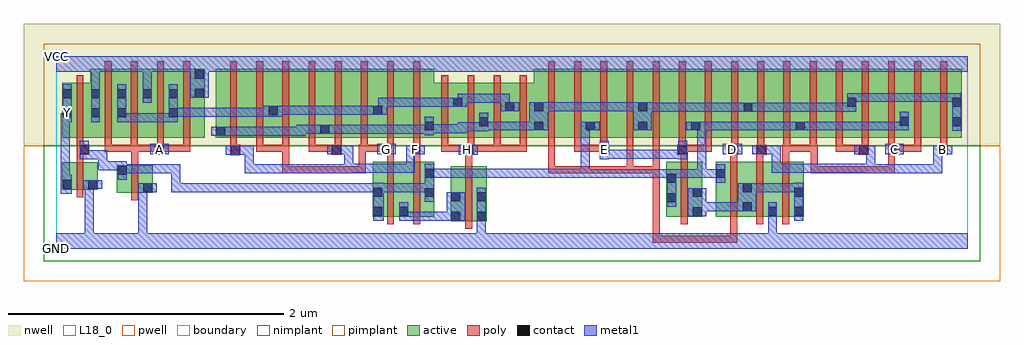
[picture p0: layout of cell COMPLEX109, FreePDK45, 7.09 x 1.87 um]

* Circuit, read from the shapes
.subckt COMPLEX109 A B C D E F G GND H VCC Y
M1 GND n1 Y VSUBS nfet w=0.2u l=0.05u
M2 GND A n1 VSUBS nfet w=0.2u l=0.05u
M3 n2 G n1 VSUBS nfet w=0.4u l=0.05u
M4 n1 F n2 VSUBS nfet w=0.4u l=0.05u
M5 GND H n2 VSUBS nfet w=0.4u l=0.05u
M6 n3 E n1 VSUBS nfet w=0.4u l=0.05u
M7 n3 D n1 VSUBS nfet w=0.4u l=0.05u
M8 GND B n3 VSUBS nfet w=0.4u l=0.05u
M9 n3 C GND VSUBS nfet w=0.4u l=0.05u
M10 VCC n1 Y n4 pfet w=0.4u l=0.05u
M11 n5 A VCC n4 pfet w=0.5u l=0.05u m=4
M12 n6 F n7 n4 pfet w=0.5u l=0.05u
M13 n5 G n6 n4 pfet w=0.5u l=0.05u
M14 n8 G n5 n4 pfet w=0.5u l=0.05u
M15 n7 F n8 n4 pfet w=0.5u l=0.05u
M16 n9 F n7 n4 pfet w=0.5u l=0.05u
M17 n5 G n9 n4 pfet w=0.5u l=0.05u
M18 n10 G n5 n4 pfet w=0.5u l=0.05u
M19 n7 F n10 n4 pfet w=0.5u l=0.05u
M20 n5 H n7 n4 pfet w=0.4u l=0.05u m=4
M21 n11 D n7 n4 pfet w=0.5u l=0.05u
M22 n1 E n11 n4 pfet w=0.5u l=0.05u
M23 n12 E n1 n4 pfet w=0.5u l=0.05u
M24 n7 D n12 n4 pfet w=0.5u l=0.05u
M25 n13 D n7 n4 pfet w=0.5u l=0.05u
M26 n1 E n13 n4 pfet w=0.5u l=0.05u
M27 n14 E n1 n4 pfet w=0.5u l=0.05u
M28 n7 D n14 n4 pfet w=0.5u l=0.05u
M29 n15 B n7 n4 pfet w=0.5u l=0.05u
M30 n1 C n15 n4 pfet w=0.5u l=0.05u
M31 n16 C n1 n4 pfet w=0.5u l=0.05u
M32 n7 B n16 n4 pfet w=0.5u l=0.05u
M33 n17 B n7 n4 pfet w=0.5u l=0.05u
M34 n1 C n17 n4 pfet w=0.5u l=0.05u
M35 n18 C n1 n4 pfet w=0.5u l=0.05u
M36 n7 B n18 n4 pfet w=0.5u l=0.05u
.ends

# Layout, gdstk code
import gdstk
lib = gdstk.Library(unit=1e-6, precision=1e-09)
def R(c, l, rs):  # rectangles x0, y0, x1, y1
    for r in rs: c.add(gdstk.rectangle(r[:2], r[2:], *l))
def A(c, l, x, y, w, h, nx, ny, dx, dy):  # array of equal rectangles
    R(c, l, [(x+i*dx, y+j*dy, x+i*dx+w, y+j*dy+h) for i in range(nx) for j in range(ny)])
active = (1, 0)
pwell = (2, 0)
nwell = (3, 0)
nimplant = (4, 0)
pimplant = (5, 0)
poly = (9, 0)
contact = (10, 0)
metal1 = (11, 0)
L18_0 = (18, 0)
boundary = (235, 0)

complex109 = lib.new_cell('COMPLEX109')
A(complex109, active, 5.592, 0.807, 0.225, 0.5, 3, 1, 0.38, 0)
R(complex109, active, [(2.865,0.2,3.125,0.6), (2.865,0.2,2.94,0.492), (3.05,0.2,3.125,0.492), (2.297,0.232,2.562,0.632), (2.297,0.232,2.372,0.492), (2.487,0.232,2.562,0.492), (2.487,0.232,2.747,0.632), (4.432,0.232,4.507,0.632), (4.432,0.232,4.692,0.632), (4.617,0.232,4.692,0.632), (4.79,0.232,5.055,0.632), (4.98,0.232,5.055,0.492), (4.98,0.232,5.24,0.632), (5.165,0.232,5.43,0.632), (5.165,0.232,5.24,0.492), (5.355,0.232,5.43,0.632), (2.672,0.295,2.747,0.632), (4.79,0.295,4.865,0.632), (0.44,0.407,0.515,0.607), (0.44,0.407,0.7,0.607), (0.625,0.407,0.7,0.607), (0.042,0.43,0.302,0.63), (0.227,0.43,0.302,0.63), (0.042,0.432,0.117,0.63), (0.042,0.807,0.117,1.2), (0.042,0.807,0.322,1.207), (0.247,0.807,0.512,1.307), (0.247,0.807,0.322,1.205), (0.437,0.807,0.512,1.2), (0.437,0.807,0.697,1.307), (0.622,0.807,0.697,1.307), (0.622,0.807,0.887,1.307), (0.812,0.807,0.887,1.2), (0.812,0.807,1.077,1.307), (1.002,0.807,1.077,1.307), (1.157,0.807,1.382,1.307), (1.157,0.807,1.262,1.047), (1.382,0.807,1.612,1.307), (1.537,0.807,1.612,1.2), (1.537,0.807,1.762,1.307), (1.762,0.807,1.987,1.307), (1.912,0.807,2.142,1.307), (1.912,0.807,1.987,1.07), (2.142,0.807,2.372,1.307), (2.297,0.807,2.372,1.2), (2.297,0.807,2.522,1.307), (2.522,0.807,2.747,1.307), (2.672,0.807,2.747,1.07), (2.672,0.807,2.952,1.207), (2.877,0.807,3.142,1.207), (2.877,0.807,2.952,1.2), (3.067,0.807,3.332,1.207), (3.067,0.807,3.142,1.07), (3.257,0.807,3.332,1.2), (3.257,0.807,3.542,1.207), (3.467,0.807,3.542,1.2), (3.467,0.807,3.692,1.307), (3.692,0.807,3.917,1.307), (3.842,0.807,4.072,1.307), (3.842,0.807,3.917,1.07), (4.072,0.807,4.297,1.307), (4.222,0.807,4.297,1.2), (4.222,0.807,4.452,1.307), (4.452,0.807,4.682,1.307), (4.607,0.807,4.832,1.307), (4.607,0.807,4.682,1.07), (4.832,0.807,5.062,1.307), (4.987,0.807,5.062,1.2), (4.987,0.807,5.212,1.307), (5.212,0.807,5.44,1.307), (5.365,0.807,5.44,1.07), (5.365,0.807,5.592,1.307), (5.742,0.807,5.817,1.2), (5.742,0.807,5.972,1.307), (6.122,0.807,6.352,1.307), (6.122,0.807,6.197,1.07), (6.502,0.807,6.577,1.2)])
R(complex109, pwell, [(-0.235,-0.235,6.855,0.75)])
R(complex109, nwell, [(-0.235,0.75,6.855,1.635)])
R(complex109, nimplant, [(-0.09,-0.09,6.71,0.75)])
R(complex109, pimplant, [(-0.09,0.75,6.71,1.49)])
A(complex109, poly, 4.895, 0.177, 0.05, 0.51, 3, 1, 0.19, 0)
A(complex109, poly, 0.352, 0.707, 0.05, 0.095, 4, 1, 0.19, 0)
A(complex109, poly, 1.452, 0.707, 0.05, 0.095, 7, 1, 0.19, 0)
A(complex109, poly, 1.452, 0.707, 0.05, 0.05, 3, 1, 0.19, 0)
A(complex109, poly, 2.797, 0.707, 0.05, 0.095, 4, 1, 0.19, 0)
A(complex109, poly, 4.522, 0.707, 0.05, 0.095, 11, 1, 0.19, 0)
A(complex109, poly, 0.352, 0.752, 0.05, 0.61, 4, 1, 0.19, 0)
A(complex109, poly, 1.262, 0.752, 0.05, 0.61, 8, 1, 0.19, 0)
A(complex109, poly, 2.797, 0.752, 0.05, 0.51, 4, 1, 0.19, 0)
A(complex109, poly, 3.572, 0.752, 0.05, 0.61, 16, 1, 0.19, 0)
R(complex109, poly, [(4.332,0.045,4.382,0.095), (4.332,0.045,4.457,0.095), (4.332,0.045,4.382,0.6), (4.407,0.045,4.457,0.095), (4.407,0.045,4.63,0.095), (4.58,0.045,4.63,0.095), (4.58,0.045,4.63,0.095), (4.58,0.045,4.63,0.095), (4.58,0.045,4.762,0.095), (4.712,0.045,4.762,0.095), (4.712,0.045,4.945,0.095), (4.895,0.045,4.945,0.095), (4.895,0.045,4.945,0.095), (4.895,0.045,4.945,0.095), (4.895,0.045,4.945,0.227), (2.97,0.145,3.02,0.655), (2.402,0.177,2.452,0.687), (2.592,0.177,2.642,0.687), (4.537,0.177,4.587,0.687), (0.545,0.352,0.595,0.662), (0.147,0.375,0.197,0.685), (1.642,0.55,1.692,0.6), (1.642,0.55,1.692,0.6), (1.642,0.55,1.692,0.6), (1.642,0.55,1.692,0.6), (1.642,0.55,1.692,0.6), (1.642,0.55,1.692,0.757), (1.642,0.55,1.825,0.6), (1.775,0.55,1.825,0.6), (1.775,0.55,2.015,0.6), (1.965,0.55,2.015,0.6), (1.965,0.55,2.015,0.6), (1.965,0.55,2.015,0.6), (1.965,0.55,2.247,0.6), (2.197,0.55,2.247,0.6), (2.197,0.55,2.247,0.6), (2.197,0.55,2.247,0.6), (2.197,0.55,2.247,0.757), (3.572,0.55,3.622,0.6), (3.572,0.55,3.622,0.6), (3.572,0.55,3.622,0.6), (3.572,0.55,3.622,0.6), (3.572,0.55,3.622,0.6), (3.572,0.55,3.622,0.6), (3.572,0.55,3.622,0.6), (3.572,0.55,3.622,0.802), (3.572,0.55,3.86,0.6), (3.81,0.55,3.86,0.6), (3.81,0.55,3.86,0.6), (3.81,0.55,3.86,0.6), (3.81,0.55,3.992,0.6), (3.942,0.55,3.992,0.6), (3.942,0.55,4.192,0.6), (4.142,0.55,4.192,0.6), (4.142,0.55,4.192,0.6), (4.142,0.55,4.192,0.6), (4.142,0.55,4.192,0.6), (4.142,0.55,4.192,0.6), (4.142,0.55,4.192,0.6), (4.142,0.55,4.192,0.6), (4.142,0.55,4.192,0.802), (4.142,0.55,4.325,0.6), (4.275,0.55,4.325,0.6), (4.275,0.55,4.382,0.6), (4.332,0.55,4.382,0.6), (4.332,0.55,4.382,0.6), (4.332,0.55,4.382,0.6), (4.332,0.55,4.382,0.6), (4.332,0.55,4.382,0.6), (4.332,0.55,4.382,0.6), (4.332,0.55,4.382,0.6), (4.332,0.55,4.382,0.6), (4.332,0.55,4.382,0.6), (4.332,0.55,4.382,0.802), (5.48,0.55,5.53,0.6), (5.48,0.55,5.745,0.6), (5.48,0.55,5.53,0.757), (5.695,0.55,5.745,0.6), (5.695,0.55,5.745,0.6), (5.695,0.55,5.745,0.6), (5.695,0.55,5.877,0.6), (5.827,0.55,5.877,0.6), (5.827,0.55,5.877,0.6), (5.827,0.55,5.877,0.6), (5.827,0.55,6.092,0.6), (6.042,0.55,6.092,0.6), (6.042,0.55,6.092,0.6), (6.042,0.55,6.092,0.6), (6.042,0.55,6.092,0.6), (6.042,0.55,6.092,0.6), (6.042,0.55,6.092,0.732), (2.97,0.605,3.02,0.732), (0.545,0.612,0.595,0.757), (0.147,0.635,0.197,0.732), (2.402,0.637,2.452,0.732), (2.592,0.637,2.642,0.732), (4.537,0.637,4.587,0.732), (4.895,0.637,4.945,0.732), (5.085,0.637,5.135,0.732), (5.275,0.637,5.325,0.757), (1.262,0.68,1.337,0.755), (0.147,0.682,0.24,0.757), (0.712,0.682,0.787,0.757), (1.997,0.682,2.072,0.757), (2.362,0.682,2.452,0.757), (2.57,0.682,2.645,0.757), (2.957,0.682,3.037,0.757), (3.942,0.682,4.017,0.757), (4.512,0.682,4.587,0.757), (4.877,0.682,4.952,0.757), (5.085,0.682,5.16,0.757), (5.827,0.682,5.902,0.757), (6.042,0.682,6.127,0.757), (6.402,0.682,6.477,0.757), (1.262,0.705,1.312,0.802), (0.147,0.707,0.197,0.802), (0.352,0.707,0.405,0.757), (0.355,0.707,0.405,0.757), (0.355,0.707,0.405,0.757), (0.355,0.707,0.592,0.757), (0.542,0.707,0.595,0.757), (0.545,0.707,0.595,0.757), (0.545,0.707,0.595,0.757), (0.545,0.707,0.762,0.757), (0.737,0.707,0.787,0.757), (0.737,0.707,0.787,0.757), (0.737,0.707,0.972,0.757), (0.922,0.707,0.972,0.757), (1.452,0.707,1.502,0.757), (1.452,0.707,1.502,0.757), (1.452,0.707,1.692,0.757), (1.832,0.707,1.882,0.757), (1.832,0.707,1.882,0.757), (1.832,0.707,2.047,0.757), (2.197,0.707,2.247,0.757), (2.197,0.707,2.247,0.757), (2.197,0.707,2.262,0.757), (2.212,0.707,2.412,0.757), (2.362,0.707,2.412,0.757), (2.362,0.707,2.412,0.757), (2.797,0.707,2.847,0.757), (2.797,0.707,2.847,0.757), (2.797,0.707,2.847,0.757), (2.797,0.707,3.007,0.757), (2.987,0.707,3.227,0.757), (3.177,0.707,3.227,0.757), (3.177,0.707,3.227,0.757), (3.177,0.707,3.227,0.757), (3.177,0.707,3.417,0.757), (3.367,0.707,3.417,0.757), (3.367,0.707,3.417,0.757), (3.367,0.707,3.417,0.757), (3.762,0.707,3.812,0.802), (3.762,0.707,3.812,0.757), (3.762,0.707,3.812,0.757), (3.762,0.707,3.812,0.757), (3.762,0.707,3.992,0.757), (3.952,0.707,4.002,0.802), (4.537,0.707,4.762,0.757), (4.712,0.707,4.762,0.757), (4.712,0.707,4.762,0.757), (4.712,0.707,4.762,0.757), (5.275,0.707,5.332,0.757), (5.282,0.707,5.332,0.757), (5.282,0.707,5.332,0.757), (5.282,0.707,5.522,0.757), (5.472,0.707,5.522,0.757), (5.472,0.707,5.522,0.757), (5.472,0.707,5.53,0.757), (5.662,0.707,5.712,0.757), (5.662,0.707,5.877,0.757), (5.827,0.707,5.877,0.757), (5.827,0.707,5.877,0.757), (6.077,0.707,6.282,0.757), (6.232,0.707,6.282,0.757), (6.232,0.707,6.282,0.757), (6.232,0.707,6.282,0.757), (0.147,0.752,0.197,1.262)])
R(complex109, contact, [(2.87,0.205,2.935,0.27), (3.055,0.205,3.12,0.27), (4.622,0.237,4.687,0.302), (2.302,0.24,2.367,0.305), (2.492,0.24,2.557,0.305), (5.17,0.24,5.235,0.305), (5.36,0.24,5.425,0.305), (4.985,0.272,5.05,0.337), (4.437,0.34,4.502,0.405), (2.87,0.345,2.935,0.41), (3.055,0.345,3.12,0.41), (2.677,0.377,2.742,0.442), (4.622,0.377,4.687,0.442), (2.302,0.38,2.367,0.445), (5.36,0.38,5.425,0.445), (0.63,0.412,0.695,0.477), (4.985,0.412,5.05,0.477), (0.232,0.435,0.297,0.5), (0.047,0.437,0.112,0.502), (4.437,0.48,4.502,0.545), (4.795,0.515,4.86,0.58), (2.677,0.517,2.742,0.582), (0.445,0.537,0.51,0.602), (1.267,0.685,1.332,0.75), (0.17,0.687,0.235,0.752), (0.717,0.687,0.782,0.752), (2.002,0.687,2.067,0.752), (2.367,0.687,2.432,0.752), (2.575,0.687,2.64,0.752), (2.962,0.687,3.027,0.752), (3.947,0.687,4.012,0.752), (4.517,0.687,4.582,0.752), (4.882,0.687,4.947,0.752), (5.09,0.687,5.155,0.752), (5.832,0.687,5.897,0.752), (6.057,0.687,6.122,0.752), (6.407,0.687,6.472,0.752), (1.162,0.822,1.227,0.887), (1.917,0.837,1.982,0.902), (2.677,0.86,2.742,0.925), (3.472,0.86,3.537,0.925), (3.847,0.86,3.912,0.925), (4.227,0.86,4.292,0.925), (4.612,0.86,4.677,0.925), (5.37,0.86,5.435,0.925), (3.072,0.89,3.137,0.955), (6.507,0.892,6.572,0.957), (6.127,0.895,6.192,0.96), (0.047,0.955,0.112,1.02), (0.252,0.955,0.317,1.02), (0.442,0.955,0.507,1.02), (0.817,0.955,0.882,1.02), (1.542,0.97,1.607,1.035), (2.302,0.975,2.367,1.04), (4.992,0.997,5.057,1.062), (3.262,1,3.327,1.065), (3.472,1,3.537,1.065), (4.227,1,4.292,1.065), (2.882,1.032,2.947,1.097), (5.747,1.032,5.812,1.097), (6.507,1.032,6.572,1.097), (0.047,1.095,0.112,1.16), (0.252,1.095,0.317,1.16), (0.442,1.095,0.507,1.16), (0.627,1.095,0.692,1.16), (0.817,1.095,0.882,1.16), (1.007,1.097,1.072,1.162), (1.007,1.237,1.072,1.302)])
A(complex109, metal1, 5.197, 0.552, 0.203, 0.065, 3, 2, 0.275, 0.308)
R(complex109, metal1, [(0,0,6.62,0.115), (0.207,0.05,0.272,0.115), (0.207,0.05,0.272,0.115), (0.207,0.05,0.272,0.115), (0.207,0.05,0.272,0.115), (0.207,0.05,0.272,0.5), (0.595,0.05,0.66,0.115), (0.595,0.05,0.66,0.115), (0.595,0.05,0.66,0.115), (0.595,0.05,0.66,0.115), (0.595,0.05,0.66,0.115), (0.595,0.05,0.66,0.115), (0.595,0.05,0.66,0.477), (3.055,0.05,3.12,0.115), (3.055,0.05,3.12,0.115), (3.055,0.05,3.12,0.235), (5.17,0.05,5.235,0.115), (5.17,0.05,5.235,0.115), (5.17,0.05,5.235,0.27), (3.055,0.17,3.12,0.445), (2.302,0.205,2.377,0.48), (2.492,0.205,2.557,0.34), (2.492,0.205,2.605,0.27), (2.54,0.205,2.605,0.27), (2.54,0.205,2.742,0.27), (2.677,0.205,2.742,0.27), (2.677,0.205,2.742,0.27), (2.677,0.205,2.742,0.27), (2.677,0.205,2.9,0.27), (2.835,0.205,2.97,0.41), (5.17,0.205,5.235,0.34), (5.36,0.205,5.425,0.48), (4.587,0.237,4.722,0.442), (4.657,0.272,4.722,0.337), (4.657,0.272,4.722,0.337), (4.657,0.272,4.86,0.337), (4.795,0.272,4.86,0.337), (4.795,0.272,4.86,0.337), (4.795,0.272,4.86,0.337), (4.795,0.272,5.015,0.337), (4.95,0.272,5.085,0.477), (4.437,0.305,4.502,0.58), (2.677,0.342,2.745,0.617), (0.032,0.402,0.112,0.537), (0.595,0.412,0.73,0.477), (0.835,0.412,0.9,0.477), (0.835,0.412,1.055,0.477), (0.835,0.412,0.9,0.597), (0.99,0.412,1.055,0.477), (0.99,0.412,1.055,0.477), (0.99,0.412,1.055,0.477), (0.99,0.412,1.297,0.477), (1.232,0.412,1.297,0.477), (1.232,0.412,1.297,0.477), (1.232,0.412,1.297,0.477), (1.232,0.412,1.435,0.477), (1.37,0.412,1.435,0.477), (1.37,0.412,1.505,0.477), (1.44,0.412,1.505,0.477), (1.44,0.412,1.672,0.477), (1.607,0.412,1.672,0.477), (1.607,0.412,1.672,0.477), (1.607,0.412,1.672,0.477), (1.607,0.412,1.81,0.477), (1.745,0.412,1.81,0.477), (1.745,0.412,1.81,0.477), (1.745,0.412,1.81,0.477), (1.745,0.412,2.017,0.477), (1.952,0.412,2.017,0.477), (1.952,0.412,2.017,0.477), (1.952,0.412,2.017,0.477), (1.952,0.412,2.155,0.477), (2.09,0.412,2.155,0.477), (2.09,0.412,2.24,0.477), (2.175,0.412,2.24,0.477), (2.175,0.412,2.367,0.477), (2.312,0.412,2.377,0.477), (2.312,0.412,2.377,0.477), (2.312,0.412,2.605,0.477), (2.54,0.412,2.605,0.477), (2.54,0.412,2.605,0.477), (2.54,0.412,2.605,0.477), (2.54,0.412,2.742,0.477), (5.02,0.412,5.085,0.477), (5.02,0.412,5.085,0.477), (5.02,0.412,5.262,0.477), (5.197,0.412,5.262,0.477), (5.197,0.412,5.327,0.477), (5.262,0.412,5.327,0.477), (5.262,0.412,5.425,0.477), (0.197,0.435,0.332,0.5), (0.207,0.435,0.272,0.5), (0.207,0.435,0.272,0.5), (0.032,0.46,0.097,0.525), (0.032,0.46,0.097,0.537), (0.032,0.462,0.097,0.527), (0.032,0.462,0.097,0.537), (0.032,0.472,0.097,0.985), (4.795,0.48,4.86,0.615), (0.445,0.502,0.51,0.637), (3.81,0.515,4.012,0.58), (3.81,0.515,3.875,0.582), (3.947,0.515,4.012,0.58), (3.947,0.515,4.012,0.58), (3.947,0.515,4.012,0.58), (3.947,0.515,4.19,0.58), (4.125,0.515,4.19,0.58), (4.125,0.515,4.19,0.58), (4.125,0.515,4.19,0.58), (4.125,0.515,4.365,0.58), (4.3,0.515,4.365,0.58), (4.3,0.515,4.502,0.58), (4.437,0.515,4.502,0.58), (4.437,0.515,4.502,0.58), (4.437,0.515,4.72,0.58), (4.655,0.515,4.72,0.58), (4.655,0.515,4.72,0.58), (4.655,0.515,4.72,0.58), (4.655,0.515,4.86,0.58), (4.655,0.515,4.72,0.925), (2.68,0.517,2.745,0.582), (2.68,0.517,2.745,0.582), (2.68,0.517,2.982,0.582), (2.917,0.517,2.982,0.582), (2.917,0.517,2.982,0.582), (2.917,0.517,2.982,0.582), (2.917,0.517,3.155,0.582), (3.09,0.517,3.155,0.582), (3.09,0.517,3.155,0.582), (3.09,0.517,3.155,0.582), (3.09,0.517,3.292,0.582), (3.227,0.517,3.292,0.582), (3.227,0.517,3.292,0.582), (3.227,0.517,3.292,0.582), (3.227,0.517,3.43,0.582), (3.365,0.517,3.43,0.582), (3.365,0.517,3.43,0.582), (3.365,0.517,3.43,0.582), (3.365,0.517,3.572,0.582), (3.507,0.517,3.572,0.582), (3.507,0.517,3.71,0.582), (3.645,0.517,3.71,0.582), (3.645,0.517,3.71,0.582), (3.645,0.517,3.71,0.582), (3.645,0.517,3.71,0.582), (3.645,0.517,3.71,0.582), (3.645,0.517,3.875,0.582), (3.81,0.517,3.875,0.925), (0.835,0.532,0.9,0.597), (0.835,0.532,0.9,0.615), (0.445,0.55,0.51,0.615), (0.445,0.55,0.51,0.615), (0.445,0.55,0.647,0.615), (0.582,0.55,0.647,0.615), (0.582,0.55,0.9,0.615), (0.835,0.55,0.9,0.615), (0.835,0.55,0.9,0.615), (0.835,0.55,0.9,0.615), (1.37,0.55,1.435,0.615), (1.37,0.55,1.435,0.75), (1.37,0.55,1.505,0.615), (1.44,0.55,1.505,0.615), (1.44,0.55,1.672,0.615), (1.607,0.55,1.672,0.615), (1.607,0.55,1.672,0.615), (1.607,0.55,1.672,0.615), (1.607,0.55,1.81,0.615), (1.745,0.55,1.81,0.615), (1.745,0.55,1.81,0.615), (1.745,0.55,1.81,0.615), (1.745,0.55,2.017,0.615), (1.952,0.55,2.017,0.615), (1.952,0.55,2.017,0.615), (1.952,0.55,2.017,0.615), (1.952,0.55,2.155,0.615), (2.09,0.55,2.155,0.617), (5.885,0.55,6.087,0.615), (5.885,0.55,5.95,0.617), (6.022,0.55,6.087,0.615), (6.022,0.55,6.087,0.615), (6.022,0.55,6.087,0.615), (6.022,0.55,6.225,0.615), (6.16,0.55,6.225,0.615), (6.16,0.55,6.435,0.615), (6.37,0.55,6.435,0.615), (6.37,0.55,6.435,0.752), (2.09,0.552,2.155,0.752), (2.09,0.552,2.24,0.617), (2.175,0.552,2.24,0.617), (2.175,0.552,2.295,0.617), (2.23,0.552,2.295,0.617), (2.23,0.552,2.377,0.617), (2.312,0.552,2.377,0.617), (2.312,0.552,2.605,0.617), (2.54,0.552,2.605,0.617), (2.54,0.552,2.605,0.752), (5.197,0.552,5.262,0.617), (5.197,0.552,5.262,0.752), (5.335,0.552,5.4,0.617), (5.335,0.552,5.537,0.617), (5.472,0.552,5.537,0.617), (5.472,0.552,5.537,0.617), (5.472,0.552,5.537,0.617), (5.61,0.552,5.675,0.617), (5.61,0.552,5.675,0.617), (5.61,0.552,5.675,0.617), (5.61,0.552,5.812,0.617), (5.747,0.552,5.812,0.617), (5.885,0.552,5.95,0.617), (5.885,0.552,5.95,0.617), (5.885,0.552,5.95,0.752), (0.307,0.572,0.51,0.637), (0.307,0.572,0.372,0.642), (0.305,0.577,0.37,0.642), (0.305,0.577,0.372,0.642), (0.305,0.577,0.37,0.717), (0.17,0.652,0.235,0.787), (0.17,0.652,0.37,0.717), (0.305,0.652,0.37,0.717), (3.947,0.652,4.012,0.787), (4.517,0.652,4.582,0.787), (3.947,0.655,4.012,0.72), (3.947,0.655,4.012,0.72), (3.947,0.655,4.15,0.72), (4.085,0.655,4.15,0.72), (4.085,0.655,4.365,0.72), (4.3,0.655,4.365,0.72), (4.3,0.655,4.365,0.72), (4.3,0.655,4.365,0.72), (4.3,0.655,4.502,0.72), (4.437,0.655,4.502,0.72), (4.437,0.655,4.582,0.72), (2.922,0.682,3.062,0.757), (1.232,0.685,1.367,0.75), (1.302,0.685,1.435,0.75), (1.37,0.685,1.435,0.75), (0.682,0.687,0.817,0.765), (1.967,0.687,2.102,0.752), (2.037,0.687,2.155,0.752), (2.09,0.687,2.155,0.752), (2.332,0.687,2.467,0.765), (2.54,0.687,2.605,0.752), (2.54,0.687,2.605,0.752), (2.54,0.687,2.677,0.752), (4.842,0.687,4.982,0.762), (5.055,0.687,5.19,0.752), (5.125,0.687,5.262,0.752), (5.197,0.687,5.262,0.752), (5.797,0.687,5.932,0.752), (5.867,0.687,5.95,0.752), (5.885,0.687,5.95,0.752), (6.022,0.687,6.157,0.765), (6.37,0.687,6.435,0.752), (6.37,0.687,6.435,0.752), (6.37,0.687,6.507,0.752), (1.127,0.822,1.262,0.887), (1.197,0.822,1.262,0.887), (1.197,0.822,1.262,0.887), (1.197,0.822,1.435,0.887), (1.37,0.822,1.435,0.887), (1.37,0.822,1.505,0.887), (1.44,0.822,1.505,0.887), (1.44,0.822,1.672,0.887), (1.607,0.822,1.672,0.887), (1.607,0.822,1.672,0.887), (1.607,0.822,1.672,0.887), (1.607,0.822,1.81,0.887), (1.745,0.822,1.81,0.902), (2.677,0.825,2.742,0.96), (1.745,0.837,1.81,0.902), (1.745,0.837,1.81,0.902), (1.745,0.837,1.947,0.902), (1.882,0.837,2.017,0.902), (1.952,0.837,2.017,0.902), (1.952,0.837,2.017,0.902), (1.952,0.837,2.155,0.902), (2.09,0.837,2.155,0.902), (2.09,0.837,2.24,0.902), (2.175,0.837,2.24,0.902), (2.175,0.837,2.42,0.902), (2.355,0.837,2.42,0.902), (2.355,0.837,2.42,0.902), (2.355,0.837,2.42,0.902), (2.355,0.837,2.605,0.902), (2.54,0.837,2.605,0.902), (2.54,0.837,2.605,0.902), (2.54,0.837,2.605,0.902), (2.54,0.837,2.742,0.902), (2.677,0.84,2.742,0.905), (2.677,0.84,2.742,0.905), (2.677,0.84,2.982,0.905), (2.917,0.84,2.982,0.905), (2.917,0.84,2.982,0.905), (2.917,0.84,2.982,0.92), (2.917,0.855,3.137,0.92), (3.072,0.855,3.137,0.99), (6.507,0.857,6.572,1.132), (3.072,0.86,3.292,0.925), (3.227,0.86,3.292,0.925), (3.227,0.86,3.292,0.925), (3.227,0.86,3.292,0.925), (3.227,0.86,3.43,0.925), (3.365,0.86,3.43,0.925), (3.365,0.86,3.502,0.925), (3.437,0.86,3.572,1.065), (3.81,0.86,3.875,0.925), (3.81,0.86,3.875,0.925), (3.81,0.86,3.947,0.925), (4.192,0.86,4.327,1.065), (4.577,0.86,4.72,0.925), (4.655,0.86,4.72,0.925), (4.655,0.86,4.72,0.925), (4.655,0.86,4.72,0.925), (4.655,0.86,4.72,0.925), (4.655,0.86,4.86,0.925), (4.795,0.86,4.86,0.925), (4.795,0.86,4.86,0.925), (4.795,0.86,4.86,0.925), (4.795,0.86,5.097,0.925), (5.032,0.86,5.097,0.925), (5.032,0.86,5.097,0.925), (5.032,0.86,5.097,0.925), (5.032,0.86,5.262,0.925), (5.197,0.86,5.262,0.925), (5.335,0.86,5.4,0.925), (5.335,0.86,5.4,0.925), (5.335,0.86,5.47,0.925), (5.405,0.86,5.537,0.925), (5.472,0.86,5.537,0.925), (5.61,0.86,5.675,0.925), (5.61,0.86,5.675,0.925), (5.61,0.86,5.675,0.925), (5.61,0.86,5.812,0.925), (5.747,0.86,5.812,0.925), (5.747,0.86,5.812,0.925), (5.747,0.86,5.812,0.925), (5.885,0.86,5.95,0.925), (5.885,0.86,6.087,0.925), (6.022,0.86,6.087,0.925), (6.022,0.86,6.192,0.925), (6.127,0.86,6.192,0.995), (0.032,0.92,0.112,0.985), (0.047,0.92,0.112,0.985), (0.047,0.92,0.112,1.195), (0.252,0.92,0.317,1.195), (0.442,0.92,0.507,1.195), (0.442,0.92,0.51,0.985), (0.445,0.92,0.51,0.985), (0.445,0.92,0.745,0.985), (0.68,0.92,0.745,0.985), (0.68,0.92,0.745,0.985), (0.68,0.92,0.745,0.985), (0.68,0.92,0.882,0.985), (0.817,0.92,0.882,1.195), (0.817,0.96,1.037,1.025), (0.972,0.96,1.037,1.025), (0.972,0.96,1.037,1.025), (0.972,0.96,1.037,1.025), (0.972,0.96,1.297,1.025), (1.232,0.96,1.297,1.025), (1.232,0.96,1.297,1.025), (1.232,0.96,1.297,1.025), (1.232,0.96,1.435,1.025), (1.37,0.96,1.435,1.025), (1.37,0.96,1.505,1.025), (1.44,0.96,1.505,1.025), (1.44,0.96,1.572,1.025), (1.507,0.96,1.642,1.04), (1.577,0.975,1.642,1.04), (1.577,0.975,1.642,1.04), (1.577,0.975,1.81,1.04), (1.745,0.975,1.81,1.04), (1.745,0.975,1.81,1.04), (1.745,0.975,1.81,1.04), (1.745,0.975,2.017,1.04), (1.952,0.975,2.017,1.04), (1.952,0.975,2.017,1.04), (1.952,0.975,2.017,1.04), (1.952,0.975,2.155,1.04), (2.09,0.975,2.155,1.04), (2.09,0.975,2.24,1.04), (2.175,0.975,2.24,1.04), (2.175,0.975,2.332,1.04), (2.267,0.975,2.402,1.04), (2.337,0.975,2.402,1.04), (2.337,0.975,2.402,1.097), (4.262,0.997,4.327,1.062), (4.262,0.997,4.327,1.062), (4.262,0.997,4.502,1.062), (4.437,0.997,4.502,1.062), (4.437,0.997,4.502,1.062), (4.437,0.997,4.502,1.062), (4.437,0.997,4.722,1.062), (4.657,0.997,4.722,1.062), (4.657,0.997,4.722,1.062), (4.657,0.997,4.722,1.062), (4.657,0.997,4.86,1.062), (4.795,0.997,4.86,1.062), (4.795,0.997,4.86,1.062), (4.795,0.997,4.86,1.062), (4.795,0.997,5.022,1.062), (4.957,0.997,5.092,1.062), (5.027,0.997,5.092,1.062), (5.027,0.997,5.092,1.062), (5.027,0.997,5.262,1.062), (5.197,0.997,5.262,1.062), (5.197,0.997,5.4,1.062), (5.335,0.997,5.4,1.062), (5.335,0.997,5.537,1.062), (5.472,0.997,5.537,1.062), (5.472,0.997,5.537,1.062), (5.472,0.997,5.537,1.062), (5.472,0.997,5.675,1.062), (5.61,0.997,5.675,1.062), (5.61,0.997,5.675,1.062), (5.61,0.997,5.675,1.062), (5.61,0.997,5.812,1.062), (5.747,0.997,5.812,1.132), (3.227,1,3.292,1.065), (3.227,1,3.362,1.065), (3.227,1,3.292,1.127), (3.507,1,3.572,1.065), (3.507,1,3.572,1.065), (3.507,1,3.572,1.065), (3.507,1,3.572,1.065), (3.507,1,3.737,1.065), (3.672,1,3.737,1.065), (3.672,1,3.737,1.065), (3.672,1,3.737,1.065), (3.672,1,3.737,1.065), (3.672,1,3.737,1.065), (3.672,1,3.875,1.065), (3.81,1,3.875,1.065), (3.81,1,3.875,1.065), (3.81,1,3.875,1.065), (3.81,1,4.012,1.065), (3.947,1,4.012,1.065), (3.947,1,4.15,1.065), (4.085,1,4.15,1.065), (4.085,1,4.257,1.065), (2.337,1.032,2.605,1.097), (2.54,1.032,2.605,1.097), (2.54,1.032,2.605,1.097), (2.54,1.032,2.605,1.097), (2.54,1.032,2.742,1.097), (2.677,1.032,2.742,1.097), (2.677,1.032,2.742,1.097), (2.677,1.032,2.742,1.097), (2.677,1.032,2.912,1.097), (2.847,1.032,2.982,1.097), (2.917,1.032,2.982,1.097), (2.917,1.032,2.982,1.127), (0.627,1.06,0.692,1.195), (2.917,1.062,3.12,1.127), (3.055,1.062,3.12,1.127), (3.055,1.062,3.292,1.127), (5.747,1.067,5.95,1.132), (5.885,1.067,5.95,1.132), (5.885,1.067,5.95,1.132), (5.885,1.067,5.95,1.132), (5.885,1.067,6.087,1.132), (6.022,1.067,6.087,1.132), (6.022,1.067,6.087,1.132), (6.022,1.067,6.087,1.132), (6.022,1.067,6.295,1.132), (6.23,1.067,6.295,1.132), (6.23,1.067,6.295,1.132), (6.23,1.067,6.295,1.132), (6.23,1.067,6.572,1.132), (6.507,1.067,6.572,1.132), (6.507,1.067,6.572,1.132), (0.972,1.097,1.107,1.302), (0.252,1.13,0.317,1.35), (0.627,1.13,0.692,1.35), (1.042,1.237,1.107,1.35), (0,1.285,6.62,1.4)])
A(complex109, L18_0, 5.197, 0.552, 0.203, 0.065, 3, 1, 0.275, 0)
R(complex109, L18_0, [(0,0,6.62,0.115), (0.207,0.05,0.272,0.115), (0.207,0.05,0.272,0.115), (0.207,0.05,0.272,0.115), (0.207,0.05,0.272,0.115), (0.207,0.05,0.272,0.5), (0.595,0.05,0.66,0.115), (0.595,0.05,0.66,0.115), (0.595,0.05,0.66,0.115), (0.595,0.05,0.66,0.115), (0.595,0.05,0.66,0.115), (0.595,0.05,0.66,0.115), (0.595,0.05,0.66,0.477), (3.055,0.05,3.12,0.115), (3.055,0.05,3.12,0.115), (3.055,0.05,3.12,0.235), (5.17,0.05,5.235,0.115), (5.17,0.05,5.235,0.115), (5.17,0.05,5.235,0.27), (3.055,0.17,3.12,0.445), (5.17,0.205,5.235,0.34), (0.032,0.402,0.112,0.537), (0.595,0.412,0.73,0.477), (0.197,0.435,0.332,0.5), (0.207,0.435,0.272,0.5), (0.207,0.435,0.272,0.5), (0.032,0.46,0.097,0.537), (0.032,0.46,0.097,0.525), (0.032,0.462,0.097,0.527), (0.032,0.462,0.097,0.537), (0.032,0.472,0.097,0.985), (1.37,0.55,1.435,0.615), (1.37,0.55,1.505,0.615), (1.37,0.55,1.435,0.75), (1.44,0.55,1.505,0.615), (1.44,0.55,1.672,0.615), (1.607,0.55,1.672,0.615), (1.607,0.55,1.672,0.615), (1.607,0.55,1.672,0.615), (1.607,0.55,1.81,0.615), (1.745,0.55,1.81,0.615), (1.745,0.55,1.81,0.615), (1.745,0.55,1.81,0.615), (1.745,0.55,2.017,0.615), (1.952,0.55,2.017,0.615), (1.952,0.55,2.017,0.615), (1.952,0.55,2.017,0.615), (1.952,0.55,2.155,0.615), (2.09,0.55,2.155,0.617), (5.885,0.55,5.95,0.617), (5.885,0.55,6.087,0.615), (6.022,0.55,6.087,0.615), (6.022,0.55,6.087,0.615), (6.022,0.55,6.087,0.615), (6.022,0.55,6.225,0.615), (6.16,0.55,6.225,0.615), (6.16,0.55,6.435,0.615), (6.37,0.55,6.435,0.615), (6.37,0.55,6.435,0.752), (2.09,0.552,2.155,0.752), (2.09,0.552,2.24,0.617), (2.175,0.552,2.24,0.617), (2.175,0.552,2.295,0.617), (2.23,0.552,2.295,0.617), (2.23,0.552,2.377,0.617), (2.312,0.552,2.377,0.617), (2.312,0.552,2.605,0.617), (2.54,0.552,2.605,0.617), (2.54,0.552,2.605,0.752), (5.197,0.552,5.262,0.617), (5.197,0.552,5.262,0.752), (5.335,0.552,5.4,0.617), (5.335,0.552,5.537,0.617), (5.472,0.552,5.537,0.617), (5.472,0.552,5.537,0.617), (5.472,0.552,5.537,0.617), (5.61,0.552,5.675,0.617), (5.61,0.552,5.675,0.617), (5.61,0.552,5.675,0.617), (5.61,0.552,5.812,0.617), (5.747,0.552,5.812,0.617), (5.885,0.552,5.95,0.617), (5.885,0.552,5.95,0.617), (5.885,0.552,5.95,0.752), (3.947,0.652,4.012,0.787), (4.517,0.652,4.582,0.787), (3.947,0.655,4.012,0.72), (3.947,0.655,4.012,0.72), (3.947,0.655,4.15,0.72), (4.085,0.655,4.15,0.72), (4.085,0.655,4.365,0.72), (4.3,0.655,4.365,0.72), (4.3,0.655,4.365,0.72), (4.3,0.655,4.365,0.72), (4.3,0.655,4.502,0.72), (4.437,0.655,4.502,0.72), (4.437,0.655,4.582,0.72), (2.922,0.682,3.062,0.757), (1.232,0.685,1.367,0.75), (1.302,0.685,1.435,0.75), (1.37,0.685,1.435,0.75), (0.682,0.687,0.817,0.765), (0.717,0.687,0.782,0.752), (1.967,0.687,2.102,0.752), (2.037,0.687,2.155,0.752), (2.09,0.687,2.155,0.752), (2.332,0.687,2.467,0.765), (2.367,0.687,2.432,0.752), (2.54,0.687,2.605,0.752), (2.54,0.687,2.605,0.752), (2.54,0.687,2.677,0.752), (2.577,0.687,2.642,0.752), (2.957,0.687,3.022,0.752), (3.947,0.687,4.012,0.752), (4.842,0.687,4.982,0.762), (4.877,0.687,4.942,0.752), (5.055,0.687,5.19,0.752), (5.125,0.687,5.262,0.752), (5.197,0.687,5.262,0.752), (5.797,0.687,5.932,0.752), (5.867,0.687,5.95,0.752), (5.885,0.687,5.95,0.752), (6.022,0.687,6.157,0.765), (6.057,0.687,6.122,0.752), (6.37,0.687,6.435,0.752), (6.37,0.687,6.435,0.752), (6.37,0.687,6.507,0.752), (6.407,0.687,6.472,0.752), (0.032,0.92,0.112,0.985), (0.047,0.92,0.112,0.985), (0.047,0.92,0.112,1.195), (0.252,0.92,0.317,1.195), (0.047,0.957,0.112,1.022), (0.627,1.06,0.692,1.195), (0.972,1.097,1.107,1.302), (0.252,1.13,0.317,1.35), (0.627,1.13,0.692,1.35), (1.042,1.237,1.107,1.35), (0,1.285,6.62,1.4)])
R(complex109, boundary, [(0,0,6.62,1.4)])
complex109.add(gdstk.Label('A', (0.75,0.72), layer=11, texttype=0))
complex109.add(gdstk.Label('B', (6.44,0.72), layer=11, texttype=0))
complex109.add(gdstk.Label('C', (6.09,0.72), layer=11, texttype=0))
complex109.add(gdstk.Label('D', (4.91,0.72), layer=11, texttype=0))
complex109.add(gdstk.Label('E', (3.98,0.72), layer=11, texttype=0))
complex109.add(gdstk.Label('F', (2.61,0.72), layer=11, texttype=0))
complex109.add(gdstk.Label('G', (2.4,0.72), layer=11, texttype=0))
complex109.add(gdstk.Label('H', (2.99,0.72), layer=11, texttype=0))
complex109.add(gdstk.Label('Y', (0.08,0.99), layer=11, texttype=0))
complex109.add(gdstk.Label('VCC', (0,1.4), layer=11, texttype=0))
complex109.add(gdstk.Label('GND', (0,0), layer=11, texttype=0))

lib.write_gds('COMPLEX109.gds')
